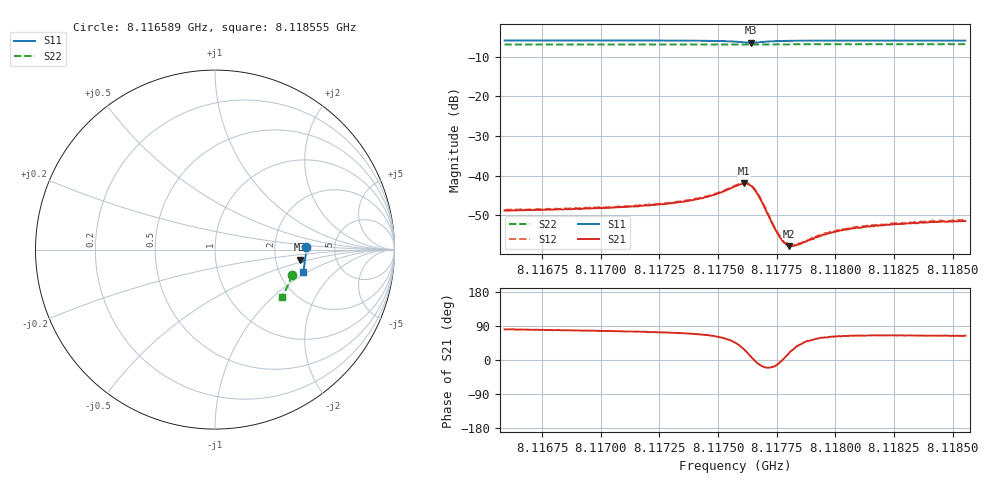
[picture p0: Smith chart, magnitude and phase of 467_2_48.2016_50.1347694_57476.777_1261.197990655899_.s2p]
#  HZ  S  RI  R  50.00
! Rohde & Schwarz Vector Network Analyzer
! Rohde-Schwarz,ZNB20-2Port,1311601062101988,3.16
! Created: UTC 3/20/2024, 11:56:59 AM
! freq[Hz]  re:S11  im:S11  re:S21  im:S21  re:S12  im:S12  re:S22  im:S22
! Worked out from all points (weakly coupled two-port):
!   401 points, 8.116589 GHz to 8.118555 GHz, reference 50 ohm
!   highest |S21| = -41.97 dB at 8.117612 GHz (marker M1); lowest = -57.8 dB at 8.117803 GHz (marker M2)
!   lowest |S11| = -6.5 dB at 8.117641 GHz (marker M3), VSWR 2.82, Z = 138 - j19.7 ohm
!   |S11| at or under -10 dB: nowhere
!   |S22| runs from -6.9 to -6.8 dB; largest |S21 - S12| = 0.00023
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8.1165895e9  0.5074 0.0156  0.000581 0.00358  0.000639 0.00367  0.4277 -0.1412
8.1169187e9  0.5072 -0.00978  0.000816 0.00372  0.000844 0.00386  0.4206 -0.163
8.1172479e9  0.5049 -0.0363  0.00127 0.00414  0.00132 0.00422  0.4129 -0.1846
8.1173707e9  0.5028 -0.0474  0.00162 0.00452  0.00174 0.00457  0.4095 -0.1926
8.1174297e9  0.5011 -0.0533  0.00202 0.00478  0.00209 0.0049  0.4078 -0.1964
8.1174985e9  0.4972 -0.0608  0.00285 0.00522  0.00295 0.00531  0.4056 -0.2008
8.1175722e9  0.4865 -0.0681  0.00509 0.00526  0.00524 0.00534  0.403 -0.2056
8.1176115e9  0.4762 -0.0653  0.00706 0.00369  0.00719 0.00377  0.4017 -0.2075
8.117641e9  0.4726 -0.0555  0.00733 0.00109  0.00752 0.00106  0.4007 -0.2089
8.1176557e9  0.4747 -0.0506  0.00666 -0.000157  0.00682 -0.000207  0.4004 -0.2096
8.1176754e9  0.4802 -0.0466  0.00526 -0.00109  0.00539 -0.00119  0.4 -0.2106
8.1177393e9  0.4944 -0.0513  0.00214 -0.00064  0.00219 -0.000666  0.3988 -0.2148
8.1177638e9  0.4968 -0.0547  0.00167 -0.000162  0.00171 -0.000213  0.3981 -0.2165
8.1177835e9  0.4979 -0.0575  0.00142 0.000135  0.00141 0.000132  0.3976 -0.2178
8.1178031e9  0.4986 -0.06  0.00123 0.000405  0.00127 0.000379  0.397 -0.2192
8.1178277e9  0.4993 -0.0632  0.00112 0.000688  0.00116 0.0007  0.3961 -0.2207
8.1179014e9  0.4997 -0.0711  0.000949 0.00127  0.000991 0.00132  0.394 -0.2255
8.1179555e9  0.4995 -0.0764  0.0009 0.00156  0.000962 0.00164  0.3922 -0.2288
8.1180292e9  0.4988 -0.0829  0.000914 0.00182  0.001 0.00186  0.3897 -0.2334
8.1182306e9  0.496 -0.0993  0.000999 0.00216  0.00107 0.00221  0.3827 -0.2458
8.1184075e9  0.493 -0.1128  0.00112 0.00234  0.00116 0.0024  0.3762 -0.2563
8.1185549e9  0.4904 -0.1239  0.00117 0.00241  0.00121 0.0024  0.3707 -0.2651
